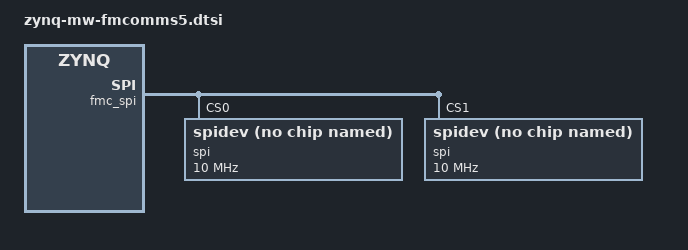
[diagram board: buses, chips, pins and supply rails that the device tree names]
#include "zynq-mw-fmcomms2.dtsi"

&axi{
    
    ad9361_1: ad9361@79040000 {
        compatible = "generic-uio";
        reg = < 0x79040000 0x10000>;
    };
};

&fmc_spi {
	spi@1 {
		compatible = "spidev";
		reg = <0>;
		spi-max-frequency = <10000000>;
	};
	spi@2 {
		compatible = "spidev";
		reg = <1>;
		spi-max-frequency = <10000000>;
	};
};		


